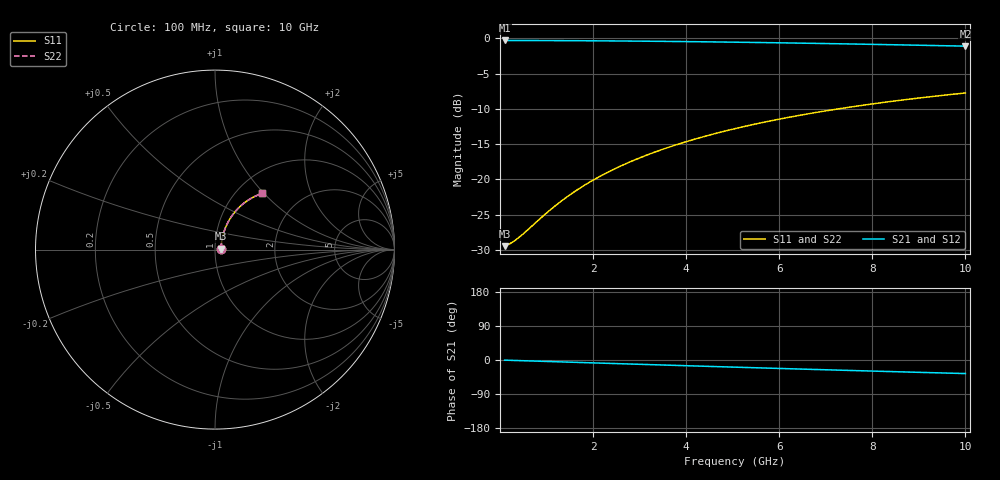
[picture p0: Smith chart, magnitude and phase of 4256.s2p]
# Hz S RI R 50.00
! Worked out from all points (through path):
!   100 points, 100 MHz to 10 GHz, reference 50 ohm
!   highest |S21| = -0.29 dB at 100 MHz (marker M1); lowest = -1.1 dB at 10 GHz (marker M2)
!   group delay of S21, straight-line fit = 9.98 ps
!   lowest |S11| = -29.5 dB at 100 MHz (marker M3), VSWR 1.07, Z = 53.4 + j0.474 ohm
!   |S11| at or under -10 dB: start of sweep to 7.272 GHz
!   |S22| runs from -29.5 to -7.7 dB; largest |S21 - S12| = 0
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1e8  0.0333 0.00443  0.9667 -0.00643  0.9667 -0.00643  0.0333 0.00443
2e8  0.0336 0.00886  0.9664 -0.0129  0.9664 -0.0129  0.0336 0.00886
3e8  0.0339 0.0133  0.9661 -0.0193  0.9661 -0.0193  0.0339 0.0133
4e8  0.0342 0.0177  0.9657 -0.0257  0.9657 -0.0257  0.0342 0.0177
1e9  0.0372 0.0441  0.9626 -0.064  0.9626 -0.064  0.0372 0.0441
1.2e9  0.0386 0.0528  0.9611 -0.0767  0.9611 -0.0767  0.0386 0.0528
1.5e9  0.0411 0.0657  0.9584 -0.0957  0.9584 -0.0957  0.0411 0.0657
1.8e9  0.0441 0.0786  0.9552 -0.1145  0.9552 -0.1145  0.0441 0.0786
2.1e9  0.0476 0.0913  0.9515 -0.1332  0.9515 -0.1332  0.0476 0.0913
2.5e9  0.053 0.1079  0.9457 -0.1578  0.9457 -0.1578  0.053 0.1079
2.9e9  0.0592 0.1241  0.939 -0.1821  0.939 -0.1821  0.0592 0.1241
3.4e9  0.0682 0.1438  0.9294 -0.2118  0.9294 -0.2118  0.0682 0.1438
3.8e9  0.0761 0.1591  0.9209 -0.235  0.9209 -0.235  0.0761 0.1591
4.2e9  0.0848 0.1738  0.9115 -0.2578  0.9115 -0.2578  0.0848 0.1738
4.6e9  0.0942 0.1879  0.9014 -0.28  0.9014 -0.28  0.0942 0.1879
5.1e9  0.1069 0.2048  0.8878 -0.3069  0.8878 -0.3069  0.1069 0.2048
5.9e9  0.1289 0.2297  0.8639 -0.3479  0.8639 -0.3479  0.1289 0.2297
6.7e9  0.1529 0.2519  0.8378 -0.3863  0.8378 -0.3863  0.1529 0.2519
7.5e9  0.1784 0.2712  0.8099 -0.4219  0.8099 -0.4219  0.1784 0.2712
8.4e9  0.2086 0.2896  0.7767 -0.4586  0.7767 -0.4586  0.2086 0.2896
9.2e9  0.2362 0.3028  0.746 -0.4882  0.746 -0.4882  0.2362 0.3028
1e10  0.2644 0.3133  0.7146 -0.5151  0.7146 -0.5151  0.2644 0.3133
